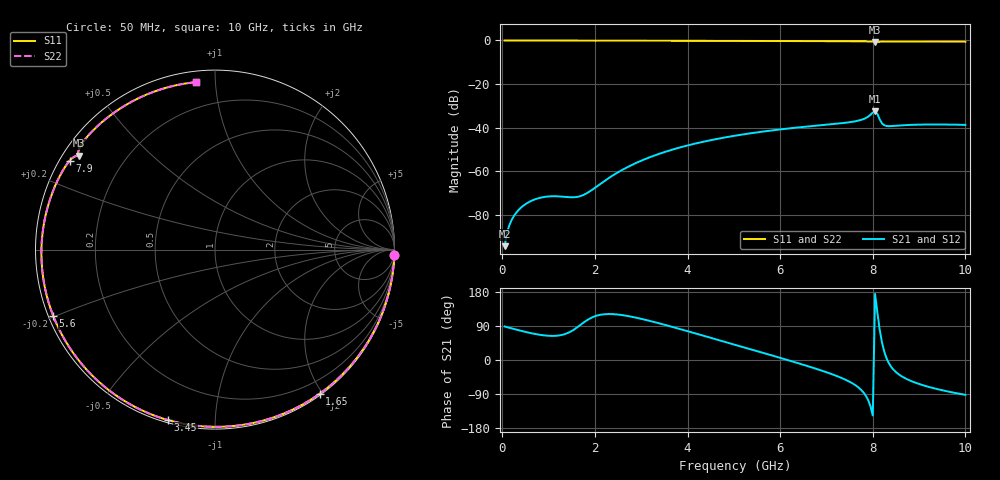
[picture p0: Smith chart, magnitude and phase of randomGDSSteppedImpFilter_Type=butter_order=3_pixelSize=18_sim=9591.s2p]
! freq	dB(S11)	phase(S11)	dB(S12)	phase(S12)
!  dB(S21)	phase(S21)	dB(S22)	phase(S22)
!S-par simulation data
#  GHz  S  DB  R 50
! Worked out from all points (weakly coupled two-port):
!   200 points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, 50 MHz to 10 GHz, reference 50 ohm
!   highest |S21| = -32.45 dB at 8.05 GHz (marker M1); lowest = -94.3 dB at 50 MHz (marker M2)
!   lowest |S11| = -0.7 dB at 8.05 GHz (marker M3), VSWR 24.65, Z = 2.23 + j15.6 ohm
!   |S11| at or under -10 dB: nowhere
!   |S22| runs from -0.7 to 0.0 dB; largest |S21 - S12| = 0
!   S11 on the Smith chart (normalised r, x): 50 MHz: 0, -67; 1.65 GHz: 0.02, -1.96; 3.45 GHz: 0.01, -0.76; 5.6 GHz: 0.01, -0.20; 7.9 GHz: 0.03, +0.28; 10 GHz: 0.06, +0.89
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0.05  -0.00 -1.7  -94.29 88.4  -94.29 88.4  -0.00 -1.7
0.25  -0.01 -8.4  -80.49 81.8  -80.49 81.8  -0.01 -8.4
0.5  -0.02 -16.8  -75.04 74.2  -75.04 74.2  -0.02 -16.8
0.8  -0.03 -26.7  -72.21 66.7  -72.21 66.7  -0.03 -26.7
1.05  -0.04 -34.9  -71.42 63.6  -71.42 63.6  -0.04 -34.9
1.65  -0.07 -54.0  -71.57 89.1  -71.57 89.1  -0.07 -53.9
1.75  -0.07 -57.1  -70.83 98.3  -70.83 98.3  -0.07 -57.0
2.6  -0.10 -82.2  -59.22 118.3  -59.22 118.3  -0.10 -82.2
3.4  -0.13 -104.2  -51.88 96.4  -51.88 96.4  -0.13 -104.1
3.45  -0.13 -105.5  -51.52 94.7  -51.52 94.7  -0.13 -105.4
4.25  -0.16 -125.8  -46.85 67.3  -46.85 67.3  -0.16 -125.7
5.05  -0.20 -145.0  -43.57 39.3  -43.57 39.3  -0.20 -144.9
5.6  -0.23 -157.7  -41.84 19.9  -41.84 19.9  -0.23 -157.7
6.7  -0.30 177.1  -39.21 -20.2  -39.21 -20.2  -0.30 177.2
7.6  -0.37 156.1  -37.14 -64.5  -37.14 -64.5  -0.37 156.2
7.9  -0.45 148.6  -34.93 -105.7  -34.93 -105.7  -0.45 148.7
8.05  -0.71 145.4  -32.45 174.5  -32.45 174.5  -0.70 145.4
8.1  -0.69 145.4  -33.71 124.6  -33.71 124.6  -0.69 145.4
8.2  -0.51 143.3  -38.02 45.6  -38.02 45.6  -0.50 143.3
8.35  -0.45 139.2  -39.27 -9.0  -39.27 -9.0  -0.45 139.3
9.2  -0.49 117.6  -38.52 -70.7  -38.52 -70.7  -0.49 117.6
10  -0.55 96.5  -38.71 -91.9  -38.71 -91.9  -0.55 96.4
